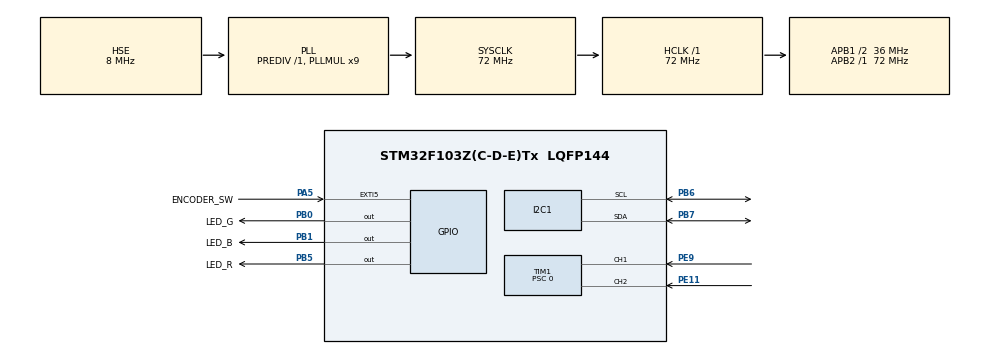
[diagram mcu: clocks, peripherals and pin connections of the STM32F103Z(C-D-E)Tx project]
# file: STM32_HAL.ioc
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I2C1.I2C_Mode=I2C_Fast
Mcu.Family=STM32F1
Mcu.Name=STM32F103Z(C-D-E)Tx
Mcu.Package=LQFP144
NVIC.PriorityGroup=NVIC_PRIORITYGROUP_4
OSC_IN.Mode=HSE-External-Oscillator
OSC_IN.Signal=RCC_OSC_IN
OSC_OUT.Mode=HSE-External-Oscillator
OSC_OUT.Signal=RCC_OSC_OUT
PA13.Mode=JTAG_5_pins
PA13.Signal=SYS_JTMS-SWDIO
PA14.Mode=JTAG_5_pins
PA14.Signal=SYS_JTCK-SWCLK
PA15.Mode=JTAG_5_pins
PA15.Signal=SYS_JTDI
PA5.GPIO_Label=ENCODER_SW
PA5.Signal=GPXTI5
PB0.GPIO_Label=LED_G
PB0.GPIO_Speed=GPIO_SPEED_FREQ_HIGH
PB0.PinState=GPIO_PIN_SET
PB0.Signal=GPIO_Output
PB1.GPIO_Label=LED_B
PB1.GPIO_Speed=GPIO_SPEED_FREQ_HIGH
PB1.PinState=GPIO_PIN_SET
PB1.Signal=GPIO_Output
PB3.Mode=JTAG_5_pins
PB3.Signal=SYS_JTDO-TRACESWO
PB4.Mode=JTAG_5_pins
PB4.Signal=SYS_NJTRST
PB5.GPIO_Label=LED_R
PB5.GPIO_Speed=GPIO_SPEED_FREQ_HIGH
PB5.PinState=GPIO_PIN_SET
PB5.Signal=GPIO_Output
PB6.Mode=I2C
PB6.Signal=I2C1_SCL
PB7.Mode=I2C
PB7.Signal=I2C1_SDA
PC14-OSC32_IN.Mode=LSE-External-Oscillator
PC14-OSC32_IN.Signal=RCC_OSC32_IN
PC15-OSC32_OUT.Mode=LSE-External-Oscillator
PC15-OSC32_OUT.Signal=RCC_OSC32_OUT
PE11.Signal=S_TIM1_CH2
PE9.Signal=S_TIM1_CH1
ProjectManager.HeapSize=0x200
ProjectManager.StackSize=0x400
ProjectManager.TargetToolchain=CMake
RCC.AHBFreq_Value=72000000
RCC.APB1CLKDivider=RCC_HCLK_DIV2
RCC.APB1Freq_Value=36000000
RCC.APB1TimFreq_Value=72000000
RCC.APB2Freq_Value=72000000
RCC.APB2TimFreq_Value=72000000
RCC.HCLKFreq_Value=72000000
RCC.PLLMUL=RCC_PLL_MUL9
RCC.PLLSourceVirtual=RCC_PLLSOURCE_HSE
RCC.SYSCLKFreq_VALUE=72000000
RCC.SYSCLKSource=RCC_SYSCLKSOURCE_PLLCLK
RCC.USBFreq_Value=72000000
SH.S_TIM1_CH1.0=TIM1_CH1,Encoder_Interface
SH.S_TIM1_CH2.0=TIM1_CH2,Encoder_Interface
TIM1.IC1Polarity=TIM_ICPOLARITY_FALLING
TIM1.Period=128
TIM1.Prescaler=0
board=custom

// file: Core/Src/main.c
/* USER CODE BEGIN Header */
/**
  ******************************************************************************
  * @file           : main.c
  * @brief          : Main program body
  ******************************************************************************
  * @attention
  *
  * Copyright (c) 2024 STMicroelectronics.
  * All rights reserved.
  *
  * This software is licensed under terms that can be found in the LICENSE file
  * in the root directory of this software component.
  * If no LICENSE file comes with this software, it is provided AS-IS.
  *
  ******************************************************************************
  */
/* USER CODE END Header */
#include "main.h"
#include "i2c.h"
#include "tim.h"
#include "gpio.h"

/* USER CODE BEGIN Includes */

#include <stdio.h>
#include "uart.h"
#include "my_dma.h"
#include "oled.h"

/* USER CODE END Includes */

/* USER CODE BEGIN PM */

// R: PB5, G: PB0, B: PB1
// #define LED_G 0b111111111111111111111111 11111110
// #define LED_B 0b111111111111111111111111 11111101
// #define LED_R 0b111111111111111111111111 11011111

#define LED_R 0xFFFFFFDF
#define LED_G 0xFFFFFFFE
#define LED_B 0xFFFFFFFD

/* USER CODE END PM */

/* USER CODE BEGIN PV */
uint32_t ledColorArray[] = {LED_R, LED_G, LED_B};
// static uint8_t ledColorIndex = 0;

extern UART_HandleTypeDef uart1Handle;
extern DMA_HandleTypeDef uart1RxDMAHandle;
uint8_t uartRecvBuf[256];
uint32_t count = 0;

/* USER CODE END PV */

void SystemClock_Config(void);

int main(void)
{

  /* MCU Configuration--------------------------------------------------------*/

  /* Reset of all peripherals, Initializes the Flash interface and the Systick. */
  HAL_Init();

  /* Configure the system clock */
  SystemClock_Config();

  /* Initialize all configured peripherals */
  MX_GPIO_Init();
  MX_I2C1_Init();
  MX_TIM1_Init();
  /* USER CODE BEGIN 2 */

  // UART1 and DMA
  HAL_StatusTypeDef dmaInitStat = InitUART1DMA();
  InitBoardUART();

  // OLED
  // 0x78: OLED i2c address
  OLED_ConfigDisplay(&hi2c1, 0x78);

  if (OLED_InitDisplay() < 0) {
    printf("init OLED screen failed!\r\n");
  } else {
    puts("OLED ok!");
  }

  /* USER CODE END 2 */

  /* Infinite loop */
  /* USER CODE BEGIN WHILE */

  puts("hello UARTx!");
  if (dmaInitStat == HAL_OK) {
    printf("DMA init success!\r\n");
  } else {
    printf("DMA init failed!\r\n");
  }

  __HAL_RCC_GPIOB_CLK_ENABLE();

  // enable NVIC interrupt handle for USART1
  HAL_NVIC_SetPriority(USART1_IRQn, 5, 0);
  HAL_NVIC_EnableIRQ(USART1_IRQn);

  // enable NVIC interrupt handle for DMA1 rx
  HAL_NVIC_SetPriority(DMA1_Channel5_IRQn, 4, 0);
  HAL_NVIC_EnableIRQ(DMA1_Channel5_IRQn);

  // enable NVIC interrupt handle for DMA1 tx
  HAL_NVIC_SetPriority(DMA1_Channel4_IRQn, 4, 0);
  HAL_NVIC_EnableIRQ(DMA1_Channel4_IRQn);

  HAL_TIM_Encoder_Start(&htim1, TIM_CHANNEL_1);

  while (1)
  {
    /* USER CODE END WHILE */

    /* USER CODE BEGIN 3 */
    char buf[256] = {0};
    uint16_t counterValue = __HAL_TIM_GET_COUNTER(&htim1);
    sprintf(buf, "Encoder: %u", counterValue);

    OLED_NewFrame();
    OLED_ShowString(0, 0, buf);
    OLED_DrawRectangle(0, 16, counterValue, 16);
    OLED_ShowFrame();
    HAL_Delay(50);
  }
  /* USER CODE END 3 */
}

void SystemClock_Config(void)
{
  RCC_OscInitTypeDef RCC_OscInitStruct = {0};
  RCC_ClkInitTypeDef RCC_ClkInitStruct = {0};

  /** Initializes the RCC Oscillators according to the specified parameters
  * in the RCC_OscInitTypeDef structure.
  */
  RCC_OscInitStruct.OscillatorType = RCC_OSCILLATORTYPE_HSE;
  RCC_OscInitStruct.HSEState = RCC_HSE_ON;
  RCC_OscInitStruct.HSEPredivValue = RCC_HSE_PREDIV_DIV1;
  RCC_OscInitStruct.HSIState = RCC_HSI_ON;
  RCC_OscInitStruct.PLL.PLLState = RCC_PLL_ON;
  RCC_OscInitStruct.PLL.PLLSource = RCC_PLLSOURCE_HSE;
  RCC_OscInitStruct.PLL.PLLMUL = RCC_PLL_MUL9;
  if (HAL_RCC_OscConfig(&RCC_OscInitStruct) != HAL_OK)
  {
    Error_Handler();
  }

  /** Initializes the CPU, AHB and APB buses clocks
  */
  RCC_ClkInitStruct.ClockType = RCC_CLOCKTYPE_HCLK|RCC_CLOCKTYPE_SYSCLK
                              |RCC_CLOCKTYPE_PCLK1|RCC_CLOCKTYPE_PCLK2;
  RCC_ClkInitStruct.SYSCLKSource = RCC_SYSCLKSOURCE_PLLCLK;
  RCC_ClkInitStruct.AHBCLKDivider = RCC_SYSCLK_DIV1;
  RCC_ClkInitStruct.APB1CLKDivider = RCC_HCLK_DIV2;
  RCC_ClkInitStruct.APB2CLKDivider = RCC_HCLK_DIV1;

  if (HAL_RCC_ClockConfig(&RCC_ClkInitStruct, FLASH_LATENCY_2) != HAL_OK)
  {
    Error_Handler();
  }
}

/* USER CODE BEGIN 4 */
int __io_putchar(int ch)
{
    HAL_UART_Transmit(&uart1Handle, (uint8_t *)&ch, 1, HAL_MAX_DELAY);
    return 0;
}
/* USER CODE END 4 */

void Error_Handler(void)
{
  __disable_irq();
  while (1)
  {
  }
}
